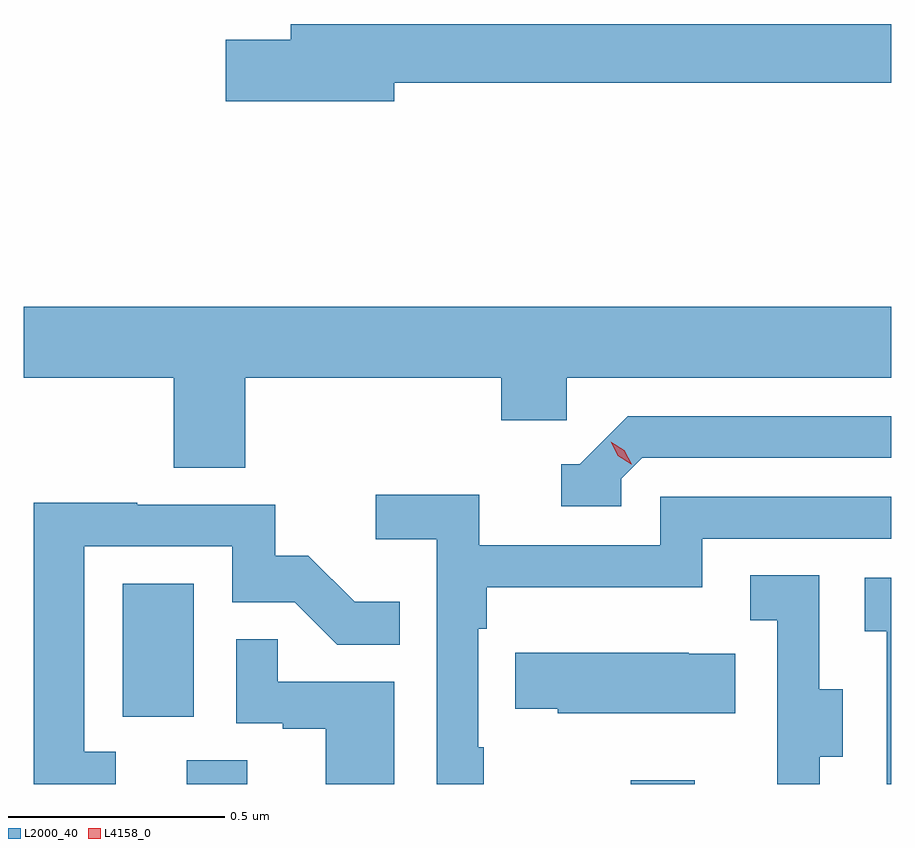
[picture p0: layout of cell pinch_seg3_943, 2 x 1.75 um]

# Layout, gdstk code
import gdstk
lib = gdstk.Library(unit=1e-6, precision=1e-09)
def R(c, l, rs):  # rectangles x0, y0, x1, y1
    for r in rs: c.add(gdstk.rectangle(r[:2], r[2:], *l))
def P(c, l, *ps):  # polygons
    for p in ps: c.add(gdstk.Polygon(p, *l))
L2000_40 = (2000, 40)
L4158_0 = (4158, 0)

pinch_seg3_943 = lib.new_cell('pinch_seg3_943')
R(pinch_seg3_943, L2000_40, [(881.417,670.675,881.557,670.73), (882.442,670.675,882.589,670.684), (881.27,670.83,881.434,671.137)])
P(pinch_seg3_943, L2000_40, [(881.896,672.292),(883.042,672.292),(883.042,672.428),(881.657,672.428),(881.657,672.392),(881.508,672.392),(881.508,672.25),(881.896,672.25)],
  [(881.552,671.612),(882.143,671.612),(882.143,671.514),(882.294,671.514),(882.294,671.612),(883.042,671.612),(883.042,671.776),(881.042,671.776),(881.042,671.612),(881.387,671.612),(881.387,671.404),(881.552,671.404)],
  [(882.42,671.379),(882.468,671.427),(883.042,671.427),(883.042,671.523),(882.435,671.523),(882.324,671.412),(882.281,671.412),(882.281,671.316),(882.42,671.316)],
  [(882.103,670.76),(882.09,670.76),(882.09,671.033),(882.11,671.033),(882.11,671.129),(882.606,671.129),(882.606,671.241),(883.042,671.241),(883.042,671.337),(882.51,671.337),(882.51,671.226),(882.092,671.226),(882.092,671.342),(881.853,671.342),(881.853,671.24),(881.994,671.24),(881.994,670.675),(882.103,670.675)],
  [(881.254,670.749),(881.181,670.749),(881.181,671.223),(881.523,671.223),(881.523,671.094),(881.667,671.094),(881.765,670.996),(881.909,670.996),(881.909,671.095),(881.805,671.095),(881.698,671.202),(881.622,671.202),(881.622,671.319),(881.303,671.319),(881.303,671.324),(881.065,671.324),(881.065,670.675),(881.254,670.675)],
  [(882.877,670.738),(882.931,670.738),(882.931,670.893),(882.876,670.893),(882.876,671.156),(882.717,671.156),(882.717,671.053),(882.78,671.053),(882.78,670.749),(882.779,670.749),(882.779,670.675),(882.877,670.675)],
  [(883.042,671.151),(882.981,671.151),(882.981,671.027),(883.032,671.027),(883.032,670.675),(883.042,670.675)],
  [(881.896,670.911),(881.627,670.911),(881.627,671.009),(881.532,671.009),(881.532,670.815),(881.639,670.815),(881.639,670.803),(881.738,670.803),(881.738,670.675),(881.896,670.675)],
  [(882.683,670.975),(882.575,670.975),(882.575,670.978),(882.175,670.978),(882.175,670.849),(882.273,670.849),(882.273,670.838),(882.683,670.838)])
P(pinch_seg3_943, L4158_0, [(882.443,671.413),(882.412,671.432),(882.396,671.464),(882.396,671.465),(882.396,671.465),(882.427,671.445),(882.444,671.413),(882.444,671.413)])

lib.write_gds('pinch_seg3_943.gds')
